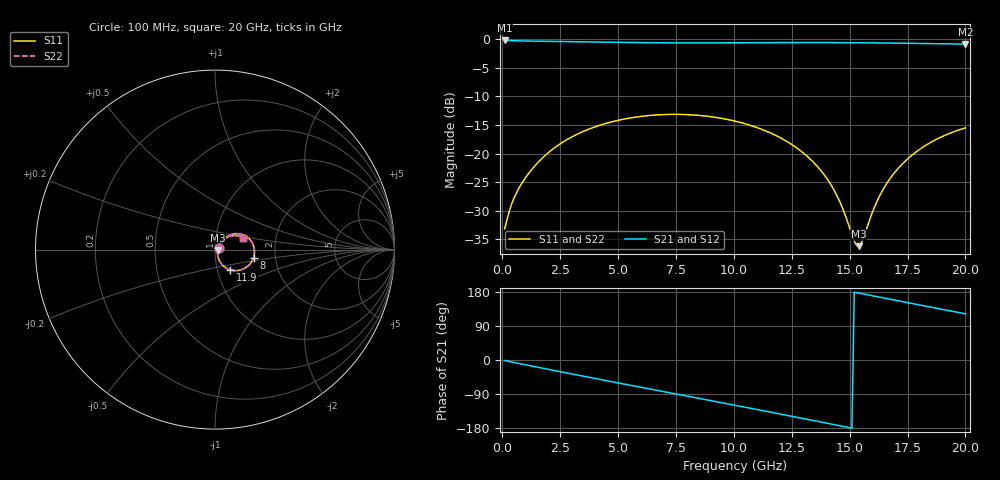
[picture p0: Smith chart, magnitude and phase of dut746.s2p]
! Touchstone file exported from HFSS 2026.1.0
!  File:  C:/ffzhzh/LocalFiles/Ansys_Project_Files/temp_train_TSV_RDL_746_1783205461_18472.aedt
!  Generated:  07:00:37 AM Jul  5, 2026
!  Design:  TSV_RDL
!  Project:  temp_train_TSV_RDL_746_1783205461_18472
! Variables:
!  h_bsmrdl = 2.22um
!  h_ox = 20um
!  h_rdl = 5um
!  h_sub = 63.67um
!  h_tmrdl = 5.33um
!  h_tsv = 63.67um
!  h_via = 3um
!  l_bsmrdl = 883.94um
!  l_sub = 4101.19um
!  l_tmrdl = 219.21um
!  m_sub = 200um
!  pitch = 36.61um
!  r_tsv = 4.04um
!  s_tmrdl = 10um
!  w_bsmrdl = 29.26um
!  w_sub = 500um
!  w_tmrdl = 28.25um
!  x_tsv_center1 = 233.335um
!  x_tsv_center2 = 1146.535um
!  x_tsv_center3 = 1393.995um
!  x_tsv_center4 = 2307.195um
!  x_tsv_center5 = 2554.655um
!  x_tsv_center6 = 3467.855um
# GHz S MA R 50.000000
! Terminal data exported
! Port[1] = TM_RDL1_1_T1
! Port[2] = TM_RDL5_1_T1
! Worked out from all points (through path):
!   200 points, 100 MHz to 20 GHz, reference 50 ohm
!   highest |S21| = -0.18 dB at 100 MHz (marker M1); lowest = -0.8 dB at 20 GHz (marker M2)
!   group delay of S21, straight-line fit = 32.9 ps
!   lowest |S11| = -36.2 dB at 15.4 GHz (marker M3), VSWR 1.03, Z = 51.6 - j0.136 ohm
!   |S11| at or under -10 dB: start of sweep to end of sweep
!   |S22| runs from -36.4 to -13.1 dB; largest |S21 - S12| = 3.7e-14
!   S11 on the Smith chart (normalised r, x): 100 MHz: 1.04, +0.01; 8 GHz: 1.54, -0.15; 11.9 GHz: 1.15, -0.26; 20 GHz: 1.35, +0.19
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0.1  0.02193 18.5  0.9793 -1.4  0.9793 -1.4  0.02193 18.5
! Gamma 0 0 0 0
! Port Impedance 50 0 50 0
0.5  0.04047 42.6  0.9731 -6.5  0.9731 -6.5  0.04047 42.6
1.2  0.06949 48.6  0.9672 -15.1  0.9672 -15.1  0.06949 48.6
2.2  0.1101 45.3  0.9606 -27.2  0.9606 -27.2  0.1101 45.3
3.5  0.1564 34.5  0.9515 -42.8  0.9515 -42.8  0.1564 34.5
5.2  0.1994 17.6  0.9411 -62.8  0.9411 -62.8  0.1994 17.6
6.8  0.2188 0.9  0.9348 -81.5  0.9348 -81.5  0.2189 0.8
8  0.2193 -11.9  0.9328 -95.4  0.9328 -95.4  0.2193 -11.9
10.1  0.1913 -34.2  0.9342 -120.0  0.9342 -120.0  0.1914 -34.3
11.9  0.1412 -52.8  0.9374 -141.3  0.9374 -141.3  0.1412 -53.0
13.4  0.08552 -65.9  0.9386 -159.3  0.9386 -159.3  0.08554 -66.1
13.9  0.06529 -68.4  0.9384 -165.3  0.9384 -165.3  0.06528 -68.7
14.4  0.0449 -67.7  0.9378 -171.4  0.9378 -171.4  0.04485 -68.2
14.8  0.02927 -60.6  0.937 -176.2  0.937 -176.2  0.02915 -61.3
15.2  0.01713 -33.0  0.9359 179.0  0.9359 179.0  0.01684 -33.7
15.4  0.01544 -4.9  0.9353 176.6  0.9353 176.6  0.01509 -5.1
15.6  0.01828 21.0  0.9346 174.2  0.9346 174.2  0.01795 21.4
16.2  0.03878 48.1  0.9322 167.0  0.9322 167.0  0.03859 48.5
16.7  0.05855 50.6  0.9297 160.9  0.9297 160.9  0.0584 50.8
17.3  0.08203 48.1  0.9265 153.8  0.9265 153.8  0.08192 48.3
18.1  0.1115 42.0  0.9217 144.3  0.9217 144.3  0.1114 42.1
20  0.168 23.6  0.9101 121.9  0.9101 121.9  0.168 23.6
